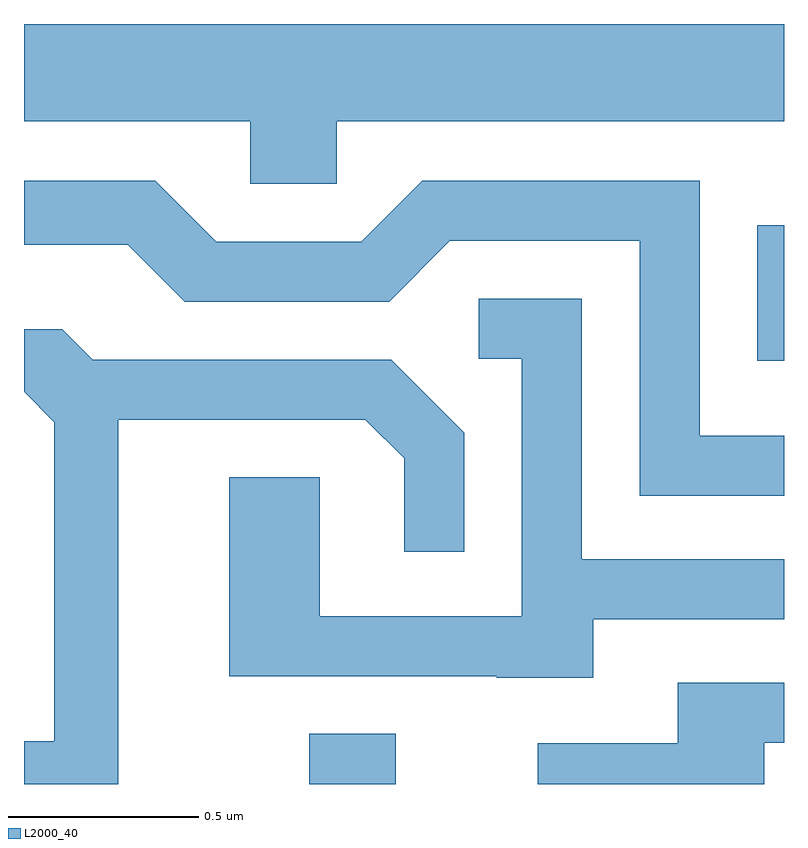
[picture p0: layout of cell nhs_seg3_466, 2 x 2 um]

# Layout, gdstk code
import gdstk
lib = gdstk.Library(unit=1e-6, precision=1e-09)
def R(c, l, rs):  # rectangles x0, y0, x1, y1
    for r in rs: c.add(gdstk.rectangle(r[:2], r[2:], *l))
def P(c, l, *ps):  # polygons
    for p in ps: c.add(gdstk.Polygon(p, *l))
L2000_40 = (2000, 40)

nhs_seg3_466 = lib.new_cell('nhs_seg3_466')
R(nhs_seg3_466, L2000_40, [(189.361,1170.892,189.589,1171.024), (190.541,1172.006,190.611,1172.363)])
P(nhs_seg3_466, L2000_40, [(189.434,1172.636),(190.611,1172.636),(190.611,1172.892),(188.611,1172.892),(188.611,1172.636),(189.206,1172.636),(189.206,1172.471),(189.434,1172.471)],
  [(190.611,1171.809),(190.389,1171.809),(190.389,1172.479),(189.659,1172.479),(189.499,1172.319),(189.117,1172.319),(188.957,1172.479),(188.611,1172.479),(188.611,1172.311),(188.884,1172.311),(189.034,1172.161),(189.572,1172.161),(189.732,1172.321),(190.231,1172.321),(190.231,1171.651),(190.611,1171.651)],
  [(190.109,1171.326),(190.611,1171.326),(190.611,1171.484),(190.079,1171.484),(190.079,1172.169),(189.808,1172.169),(189.808,1172.011),(189.921,1172.011),(189.921,1171.334),(189.389,1171.334),(189.389,1171.699),(189.151,1171.699),(189.151,1171.176),(189.855,1171.176),(189.855,1171.171),(190.109,1171.171)],
  [(188.859,1171.851),(189.509,1171.851),(189.611,1171.749),(189.611,1171.503),(189.769,1171.503),(189.769,1171.817),(189.577,1172.009),(188.792,1172.009),(188.712,1172.089),(188.611,1172.089),(188.611,1171.924),(188.691,1171.844),(188.691,1171.004),(188.611,1171.004),(188.611,1170.892),(188.859,1170.892)],
  [(190.559,1171.001),(190.611,1171.001),(190.611,1171.159),(190.331,1171.159),(190.331,1170.999),(189.963,1170.999),(189.963,1170.892),(190.559,1170.892)])

lib.write_gds('nhs_seg3_466.gds')
